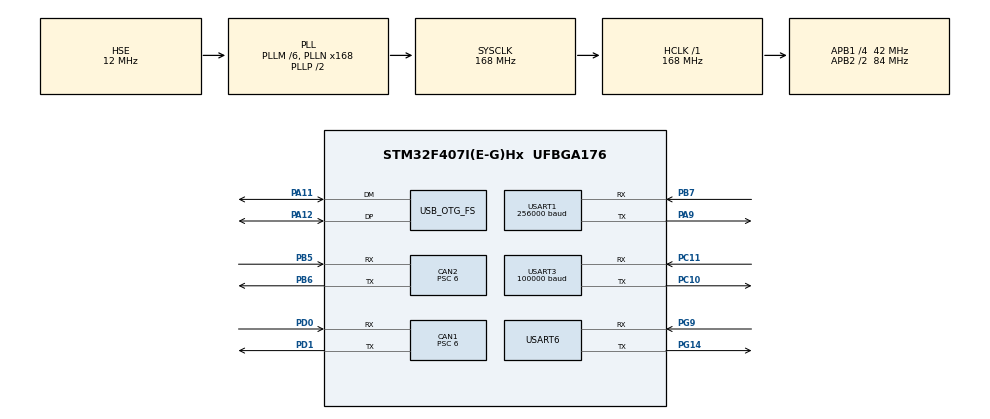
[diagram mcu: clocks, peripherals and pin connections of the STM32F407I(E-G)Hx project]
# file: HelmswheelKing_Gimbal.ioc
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CAN1.ABOM=ENABLE
CAN1.AWUM=ENABLE
CAN1.BS1=CAN_BS1_2TQ
CAN1.BS2=CAN_BS2_4TQ
CAN1.CalculateBaudRate=1000000
CAN1.CalculateTimeBit=1000
CAN1.CalculateTimeQuantum=142.85714285714286
CAN1.NART=ENABLE
CAN1.Prescaler=6
CAN2.ABOM=ENABLE
CAN2.AWUM=ENABLE
CAN2.BS1=CAN_BS1_2TQ
CAN2.BS2=CAN_BS2_4TQ
CAN2.CalculateBaudRate=1000000
CAN2.CalculateTimeBit=1000
CAN2.CalculateTimeQuantum=142.85714285714286
CAN2.NART=ENABLE
CAN2.Prescaler=6
Dma.Request0=USART1_RX
Dma.Request1=USART3_RX
Dma.Request2=USART3_TX
Dma.Request3=USART6_RX
Dma.Request4=USART6_TX
Dma.USART1_RX.0.Direction=DMA_PERIPH_TO_MEMORY
Dma.USART1_RX.0.FIFOMode=DMA_FIFOMODE_DISABLE
Dma.USART1_RX.0.Instance=DMA2_Stream2
Dma.USART1_RX.0.MemDataAlignment=DMA_MDATAALIGN_BYTE
Dma.USART1_RX.0.MemInc=DMA_MINC_ENABLE
Dma.USART1_RX.0.Mode=DMA_NORMAL
Dma.USART1_RX.0.PeriphDataAlignment=DMA_PDATAALIGN_BYTE
Dma.USART1_RX.0.PeriphInc=DMA_PINC_DISABLE
Dma.USART1_RX.0.Priority=DMA_PRIORITY_LOW
Dma.USART3_RX.1.Direction=DMA_PERIPH_TO_MEMORY
Dma.USART3_RX.1.FIFOMode=DMA_FIFOMODE_DISABLE
Dma.USART3_RX.1.Instance=DMA1_Stream1
Dma.USART3_RX.1.MemDataAlignment=DMA_MDATAALIGN_BYTE
Dma.USART3_RX.1.MemInc=DMA_MINC_ENABLE
Dma.USART3_RX.1.Mode=DMA_NORMAL
Dma.USART3_RX.1.PeriphDataAlignment=DMA_PDATAALIGN_BYTE
Dma.USART3_RX.1.PeriphInc=DMA_PINC_DISABLE
Dma.USART3_RX.1.Priority=DMA_PRIORITY_LOW
Dma.USART3_TX.2.Direction=DMA_MEMORY_TO_PERIPH
Dma.USART3_TX.2.FIFOMode=DMA_FIFOMODE_DISABLE
Dma.USART3_TX.2.Instance=DMA1_Stream3
Dma.USART3_TX.2.MemDataAlignment=DMA_MDATAALIGN_BYTE
Dma.USART3_TX.2.MemInc=DMA_MINC_ENABLE
Dma.USART3_TX.2.Mode=DMA_NORMAL
Dma.USART3_TX.2.PeriphDataAlignment=DMA_PDATAALIGN_BYTE
Dma.USART3_TX.2.PeriphInc=DMA_PINC_DISABLE
Dma.USART3_TX.2.Priority=DMA_PRIORITY_LOW
Dma.USART6_RX.3.Direction=DMA_PERIPH_TO_MEMORY
Dma.USART6_RX.3.FIFOMode=DMA_FIFOMODE_DISABLE
Dma.USART6_RX.3.Instance=DMA2_Stream1
Dma.USART6_RX.3.MemDataAlignment=DMA_MDATAALIGN_BYTE
Dma.USART6_RX.3.MemInc=DMA_MINC_ENABLE
Dma.USART6_RX.3.Mode=DMA_NORMAL
Dma.USART6_RX.3.PeriphDataAlignment=DMA_PDATAALIGN_BYTE
Dma.USART6_RX.3.PeriphInc=DMA_PINC_DISABLE
Dma.USART6_RX.3.Priority=DMA_PRIORITY_LOW
Dma.USART6_TX.4.Direction=DMA_MEMORY_TO_PERIPH
Dma.USART6_TX.4.FIFOMode=DMA_FIFOMODE_DISABLE
Dma.USART6_TX.4.Instance=DMA2_Stream6
Dma.USART6_TX.4.MemDataAlignment=DMA_MDATAALIGN_BYTE
Dma.USART6_TX.4.MemInc=DMA_MINC_ENABLE
Dma.USART6_TX.4.Mode=DMA_NORMAL
Dma.USART6_TX.4.PeriphDataAlignment=DMA_PDATAALIGN_BYTE
Dma.USART6_TX.4.PeriphInc=DMA_PINC_DISABLE
Dma.USART6_TX.4.Priority=DMA_PRIORITY_LOW
FREERTOS.Queues01=visionTxQueue,10,29,1,Dynamic,NULL,NULL
FREERTOS.Tasks01=defaultTask,24,128,StartDefaultTask,Default,NULL,Dynamic,NULL,NULL;GimbalTask,40,2048,gimbalTask,Default,NULL,Dynamic,NULL,NULL;visionTxTask,24,128,StartVisionTxTask,Default,NULL,Dynamic,NULL,NULL
Mcu.Family=STM32F4
Mcu.Name=STM32F407I(E-G)Hx
Mcu.Package=UFBGA176
NVIC.CAN1_RX0_IRQn=true\:5\:0\:false\:false\:true\:true\:true\:true\:true
NVIC.CAN1_RX1_IRQn=true\:5\:0\:false\:false\:true\:true\:true\:true\:true
NVIC.CAN2_RX0_IRQn=true\:5\:0\:false\:false\:true\:true\:true\:true\:true
NVIC.CAN2_RX1_IRQn=true\:5\:0\:false\:false\:true\:true\:true\:true\:true
NVIC.DMA1_Stream1_IRQn=true\:5\:0\:false\:false\:true\:true\:false\:true\:true
NVIC.DMA1_Stream3_IRQn=true\:5\:0\:false\:false\:true\:true\:false\:true\:true
NVIC.DMA2_Stream1_IRQn=true\:5\:0\:false\:false\:true\:true\:false\:true\:true
NVIC.DMA2_Stream2_IRQn=true\:5\:0\:false\:false\:true\:true\:false\:true\:true
NVIC.DMA2_Stream6_IRQn=true\:5\:0\:false\:false\:true\:true\:false\:true\:true
NVIC.OTG_FS_IRQn=true\:5\:0\:false\:false\:true\:true\:true\:true\:true
NVIC.PriorityGroup=NVIC_PRIORITYGROUP_4
NVIC.TIM6_DAC_IRQn=true\:15\:0\:false\:false\:true\:false\:false\:true\:true
NVIC.TimeBase=TIM6_DAC_IRQn
NVIC.TimeBaseIP=TIM6
NVIC.USART1_IRQn=true\:5\:0\:false\:false\:true\:true\:true\:true\:true
NVIC.USART3_IRQn=true\:5\:0\:false\:false\:true\:true\:true\:true\:true
NVIC.USART6_IRQn=true\:5\:0\:false\:false\:true\:true\:true\:true\:true
PA11.Mode=Device_Only
PA11.Signal=USB_OTG_FS_DM
PA12.Mode=Device_Only
PA12.Signal=USB_OTG_FS_DP
PA13.Mode=Serial_Wire
PA13.Signal=SYS_JTMS-SWDIO
PA14.Mode=Serial_Wire
PA14.Signal=SYS_JTCK-SWCLK
PA9.Mode=Asynchronous
PA9.Signal=USART1_TX
PB5.Mode=CAN_Activate
PB5.Signal=CAN2_RX
PB6.Mode=CAN_Activate
PB6.Signal=CAN2_TX
PB7.Mode=Asynchronous
PB7.Signal=USART1_RX
PC10.Mode=Asynchronous
PC10.Signal=USART3_TX
PC11.Mode=Asynchronous
PC11.Signal=USART3_RX
PD0.Mode=CAN_Activate
PD0.Signal=CAN1_RX
PD1.Mode=CAN_Activate
PD1.Signal=CAN1_TX
PG14.Mode=Asynchronous
PG14.Signal=USART6_TX
PG9.Mode=Asynchronous
PG9.Signal=USART6_RX
PH0-OSC_IN.Mode=HSE-External-Oscillator
PH0-OSC_IN.Signal=RCC_OSC_IN
PH1-OSC_OUT.Mode=HSE-External-Oscillator
PH1-OSC_OUT.Signal=RCC_OSC_OUT
ProjectManager.HeapSize=0x200
ProjectManager.StackSize=0x400
ProjectManager.TargetToolchain=MDK-ARM V5.32
RCC.48MHZClocksFreq_Value=48000000
RCC.AHBFreq_Value=168000000
RCC.APB1CLKDivider=RCC_HCLK_DIV4
RCC.APB1Freq_Value=42000000
RCC.APB1TimFreq_Value=84000000
RCC.APB2CLKDivider=RCC_HCLK_DIV2
RCC.APB2Freq_Value=84000000
RCC.APB2TimFreq_Value=168000000
RCC.CortexFreq_Value=168000000
RCC.HCLKFreq_Value=168000000
RCC.HSE_VALUE=12000000
RCC.HSI_VALUE=16000000
RCC.LSE_VALUE=32768
RCC.PLLM=6
RCC.PLLN=168
RCC.PLLQ=7
RCC.SYSCLKFreq_VALUE=168000000
RCC.SYSCLKSource=RCC_SYSCLKSOURCE_PLLCLK
RCC.VCOOutputFreq_Value=336000000
USART1.BaudRate=256000
USART1.VirtualMode=VM_ASYNC
USART3.BaudRate=100000
USART3.Parity=PARITY_EVEN
USART3.VirtualMode=VM_ASYNC
USART3.WordLength=WORDLENGTH_9B
USART6.VirtualMode=VM_ASYNC
USB_DEVICE.CLASS_NAME_FS=CDC
USB_DEVICE.VirtualMode-CDC_FS=Cdc
USB_DEVICE.VirtualModeFS=Cdc_FS
USB_OTG_FS.VirtualMode=Device_Only
VP_FREERTOS_VS_CMSIS_V2.Mode=CMSIS_V2
VP_SYS_VS_tim6.Mode=TIM6
VP_USB_DEVICE_VS_USB_DEVICE_CDC_FS.Mode=CDC_FS
board=custom

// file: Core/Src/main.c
/* USER CODE BEGIN Header */
/**
  ******************************************************************************
  * @file           : main.c
  * @brief          : Main program body
  ******************************************************************************
  * @attention
  *
  * Copyright (c) 2026 STMicroelectronics.
  * All rights reserved.
  *
  * This software is licensed under terms that can be found in the LICENSE file
  * in the root directory of this software component.
  * If no LICENSE file comes with this software, it is provided AS-IS.
  *
  ******************************************************************************
  */
/* USER CODE END Header */
#include "main.h"
#include "cmsis_os.h"
#include "can.h"
#include "dma.h"
#include "usart.h"
#include "usb_device.h"
#include "gpio.h"

/* USER CODE BEGIN Includes */
#include "gimbal_c_api.h"
#include "vofa.h"
/* USER CODE END Includes */

void SystemClock_Config(void);
void MX_FREERTOS_Init(void);

int main(void)
{

  /* MCU Configuration--------------------------------------------------------*/

  /* Reset of all peripherals, Initializes the Flash interface and the Systick. */
  HAL_Init();

  /* Configure the system clock */
  SystemClock_Config();

  /* Initialize all configured peripherals */
  MX_GPIO_Init();
  MX_DMA_Init();
  MX_CAN1_Init();
  MX_USART1_UART_Init();
  MX_USART3_UART_Init();
  MX_CAN2_Init();
  MX_USART6_UART_Init();
  /* USER CODE BEGIN 2 */
  HAL_Delay(500);
  Gimbal_InitCANBus();
  Gimbal_StartUARTReceive();
  Gimbal_StartIMUReceive();
  /* USER CODE END 2 */

  /* Init scheduler */
  osKernelInitialize();

  /* Call init function for freertos objects (in cmsis_os2.c) */
  MX_FREERTOS_Init();

  /* Start scheduler */
  osKernelStart();

  /* We should never get here as control is now taken by the scheduler */

  /* Infinite loop */
  while (1)
  {

  }
}

void SystemClock_Config(void)
{
  RCC_OscInitTypeDef RCC_OscInitStruct = {0};
  RCC_ClkInitTypeDef RCC_ClkInitStruct = {0};

  /** Configure the main internal regulator output voltage
  */
  __HAL_RCC_PWR_CLK_ENABLE();
  __HAL_PWR_VOLTAGESCALING_CONFIG(PWR_REGULATOR_VOLTAGE_SCALE1);

  /** Initializes the RCC Oscillators according to the specified parameters
  * in the RCC_OscInitTypeDef structure.
  */
  RCC_OscInitStruct.OscillatorType = RCC_OSCILLATORTYPE_HSE;
  RCC_OscInitStruct.HSEState = RCC_HSE_ON;
  RCC_OscInitStruct.PLL.PLLState = RCC_PLL_ON;
  RCC_OscInitStruct.PLL.PLLSource = RCC_PLLSOURCE_HSE;
  RCC_OscInitStruct.PLL.PLLM = 6;
  RCC_OscInitStruct.PLL.PLLN = 168;
  RCC_OscInitStruct.PLL.PLLP = RCC_PLLP_DIV2;
  RCC_OscInitStruct.PLL.PLLQ = 7;
  if (HAL_RCC_OscConfig(&RCC_OscInitStruct) != HAL_OK)
  {
    Error_Handler();
  }

  /** Initializes the CPU, AHB and APB buses clocks
  */
  RCC_ClkInitStruct.ClockType = RCC_CLOCKTYPE_HCLK|RCC_CLOCKTYPE_SYSCLK
                              |RCC_CLOCKTYPE_PCLK1|RCC_CLOCKTYPE_PCLK2;
  RCC_ClkInitStruct.SYSCLKSource = RCC_SYSCLKSOURCE_PLLCLK;
  RCC_ClkInitStruct.AHBCLKDivider = RCC_SYSCLK_DIV1;
  RCC_ClkInitStruct.APB1CLKDivider = RCC_HCLK_DIV4;
  RCC_ClkInitStruct.APB2CLKDivider = RCC_HCLK_DIV2;

  if (HAL_RCC_ClockConfig(&RCC_ClkInitStruct, FLASH_LATENCY_5) != HAL_OK)
  {
    Error_Handler();
  }
}

/* USER CODE BEGIN 4 */
void HAL_UART_TxCpltCallback(UART_HandleTypeDef *huart)
{
    if (huart->Instance == USART6) // 确保是发�?? VOFA+ 的那个串�??
    {
        vofa_tx_complete(); // 清除 busy 标志位，允许发�?�下�??�??
    }
}
void HAL_CAN_RxFifo0MsgPendingCallback(CAN_HandleTypeDef *hcan)
{
    Gimbal_ProcessCANFifo0(hcan);
}

void HAL_CAN_RxFifo1MsgPendingCallback(CAN_HandleTypeDef *hcan)
{
    Gimbal_ProcessCANFifo1(hcan);
}

void HAL_UARTEx_RxEventCallback(UART_HandleTypeDef *huart, uint16_t Size)
{
    Gimbal_ProcessUARTRx(huart, Size);
}

void HAL_UART_RxCpltCallback(UART_HandleTypeDef *huart)
{
    Gimbal_ProcessUARTRxCplt(huart);
}

void HAL_UART_ErrorCallback(UART_HandleTypeDef *huart)
{
    // if (huart->Instance == USART6)
    // {
    //     if (__HAL_UART_GET_FLAG(huart, UART_FLAG_ORE) != RESET)
    //     {
    //         __HAL_UART_CLEAR_OREFLAG(huart);
    //     }
    //     huart->ErrorCode = HAL_UART_ERROR_NONE;
    //     HAL_UART_Receive_IT(huart, Gimbal_GetVisionRxBuffer(), Gimbal_GetVisionRxSize());
    // }
}
/* USER CODE END 4 */

void HAL_TIM_PeriodElapsedCallback(TIM_HandleTypeDef *htim)
{
  if (htim->Instance == TIM6) {
    HAL_IncTick();
  }
}

void Error_Handler(void)
{
  __disable_irq();
  while (1)
  {
  }
}

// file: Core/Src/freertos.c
/* USER CODE BEGIN Header */
/**
  ******************************************************************************
  * File Name          : freertos.c
  * Description        : Code for freertos applications
  ******************************************************************************
  * @attention
  *
  * Copyright (c) 2026 STMicroelectronics.
  * All rights reserved.
  *
  * This software is licensed under terms that can be found in the LICENSE file
  * in the root directory of this software component.
  * If no LICENSE file comes with this software, it is provided AS-IS.
  *
  ******************************************************************************
  */
/* USER CODE END Header */

#include "FreeRTOS.h"
#include "task.h"
#include "main.h"
#include "cmsis_os.h"

/* USER CODE BEGIN Includes */
#include "gimbal_c_api.h"
#include "usbd_cdc_if.h"//为了能调用 CDC_Transmit_FS
/* USER CODE END Includes */

/* Definitions for defaultTask */
osThreadId_t defaultTaskHandle;
const osThreadAttr_t defaultTask_attributes = {
  .name = "defaultTask",
  .stack_size = 128 * 4,
  .priority = (osPriority_t) osPriorityNormal,
};
/* Definitions for GimbalTask */
osThreadId_t GimbalTaskHandle;
const osThreadAttr_t GimbalTask_attributes = {
  .name = "GimbalTask",
  .stack_size = 2048 * 4,
  .priority = (osPriority_t) osPriorityHigh,
};
/* Definitions for visionTxTask */
osThreadId_t visionTxTaskHandle;
const osThreadAttr_t visionTxTask_attributes = {
  .name = "visionTxTask",
  .stack_size = 128 * 4,
  .priority = (osPriority_t) osPriorityNormal,
};
/* Definitions for visionTxQueue */
osMessageQueueId_t visionTxQueueHandle;
const osMessageQueueAttr_t visionTxQueue_attributes = {
  .name = "visionTxQueue"
};

void StartDefaultTask(void *argument);
void gimbalTask(void *argument);
void StartVisionTxTask(void *argument);

extern void MX_USB_DEVICE_Init(void);
void MX_FREERTOS_Init(void); /* (MISRA C 2004 rule 8.1) */

void MX_FREERTOS_Init(void) {

  /* Create the queue(s) */
  /* creation of visionTxQueue */
  visionTxQueueHandle = osMessageQueueNew (10, 29, &visionTxQueue_attributes);

  /* Create the thread(s) */
  /* creation of defaultTask */
  defaultTaskHandle = osThreadNew(StartDefaultTask, NULL, &defaultTask_attributes);

  /* creation of GimbalTask */
  GimbalTaskHandle = osThreadNew(gimbalTask, NULL, &GimbalTask_attributes);

  /* creation of visionTxTask */
  visionTxTaskHandle = osThreadNew(StartVisionTxTask, NULL, &visionTxTask_attributes);

}

void StartDefaultTask(void *argument)
{
  /* init code for USB_DEVICE */
  MX_USB_DEVICE_Init();
  for(;;)
  {
    osDelay(1);
  }
}

void gimbalTask(void *argument)
{
  /* USER CODE BEGIN gimbalTask */
  Gimbal_Init();
  osDelay(500);

  /* Infinite loop */
  for(;;)
  {
    Gimbal_Update();
    Gimbal_SendToChassis();
    osDelay(1);
  }
  /* USER CODE END gimbalTask */
}

void StartVisionTxTask(void *argument)
{
  /* USER CODE BEGIN StartVisionTxTask */
  // 准备一个 29 字节的本地数组，用来“接货”
  uint8_t tx_buf[29];
  uint8_t usb_ret;
  /* Infinite loop */
  for(;;)
  {
    // 1. 从队列中拿数据。osWaitForever 表示如果没有数据，任务就进入休眠，完全不占 CPU
    if (osMessageQueueGet(visionTxQueueHandle, tx_buf, NULL, osWaitForever) == osOK)
    {
      // 2. 拿到了数据，立刻尝试用 USB 发送
      usb_ret = CDC_Transmit_FS(tx_buf, 29);

      // 3. 安全的防丢包机制：如果此时 USB 硬件正忙，就稍等 1ms 再试一次，直到发出去为止
      // 注意：这里用 osDelay 是绝对安全的，因为这是个独立的普通优先级任务，绝不会卡死云台电机！
      while (usb_ret == USBD_BUSY)
      {
        osDelay(1);
        usb_ret = CDC_Transmit_FS(tx_buf, 29);
      }
    }
  }
  /* USER CODE END StartVisionTxTask */
}
